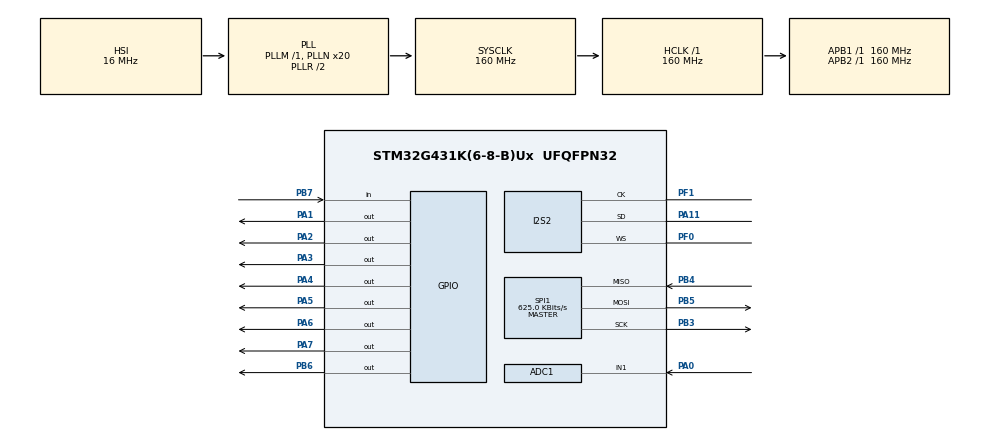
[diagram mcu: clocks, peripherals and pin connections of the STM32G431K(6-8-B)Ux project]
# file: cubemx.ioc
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ADC1.Channel-2\#ChannelRegularConversion=ADC_CHANNEL_1
ADC1.NbrOfConversionFlag=1
ADC1.OffsetNumber-2\#ChannelRegularConversion=ADC_OFFSET_NONE
ADC1.Rank-2\#ChannelRegularConversion=1
ADC1.SamplingTime-2\#ChannelRegularConversion=ADC_SAMPLETIME_2CYCLES_5
ADC1.master=1
Dma.Request0=SPI2_RX
Dma.SPI2_RX.0.Direction=DMA_PERIPH_TO_MEMORY
Dma.SPI2_RX.0.EventEnable=DISABLE
Dma.SPI2_RX.0.Instance=DMA1_Channel1
Dma.SPI2_RX.0.MemDataAlignment=DMA_MDATAALIGN_HALFWORD
Dma.SPI2_RX.0.MemInc=DMA_MINC_ENABLE
Dma.SPI2_RX.0.Mode=DMA_CIRCULAR
Dma.SPI2_RX.0.PeriphDataAlignment=DMA_PDATAALIGN_HALFWORD
Dma.SPI2_RX.0.PeriphInc=DMA_PINC_DISABLE
Dma.SPI2_RX.0.Polarity=HAL_DMAMUX_REQ_GEN_RISING
Dma.SPI2_RX.0.Priority=DMA_PRIORITY_VERY_HIGH
Dma.SPI2_RX.0.RequestNumber=1
Dma.SPI2_RX.0.SignalID=NONE
Dma.SPI2_RX.0.SyncEnable=DISABLE
Dma.SPI2_RX.0.SyncPolarity=HAL_DMAMUX_SYNC_NO_EVENT
Dma.SPI2_RX.0.SyncRequestNumber=1
Dma.SPI2_RX.0.SyncSignalID=NONE
I2S2.AudioFreq=I2S_AUDIOFREQ_48K
I2S2.DataFormat=I2S_DATAFORMAT_24B
I2S2.ErrorAudioFreq=0.15 %
I2S2.FullDuplexMode=I2S_FULLDUPLEXMODE_DISABLE
I2S2.Instance=SPI$Index
I2S2.Mode=I2S_MODE_MASTER_RX
I2S2.RealAudioFreq=48.076 KHz
I2S2.VirtualMode=I2S_MODE_MASTER
Mcu.Family=STM32G4
Mcu.Name=STM32G431K(6-8-B)Ux
Mcu.Package=UFQFPN32
NVIC.DMA1_Channel1_IRQn=true\:0\:0\:false\:false\:true\:false\:true\:true
NVIC.PriorityGroup=NVIC_PRIORITYGROUP_4
PA0.Mode=IN1-Single-Ended
PA0.Signal=ADC1_IN1
PA1.Signal=GPIO_Output
PA11.Mode=Half_Duplex_Master
PA11.Signal=I2S2_SD
PA13.Mode=Serial_Wire
PA13.Signal=SYS_JTMS-SWDIO
PA14.Mode=Serial_Wire
PA14.Signal=SYS_JTCK-SWCLK
PA2.Signal=GPIO_Output
PA3.Signal=GPIO_Output
PA4.Signal=GPIO_Output
PA5.Signal=GPIO_Output
PA6.PinState=GPIO_PIN_RESET
PA6.Signal=GPIO_Output
PA7.Signal=GPIO_Output
PB3.Mode=Full_Duplex_Master
PB3.Signal=SPI1_SCK
PB4.Mode=Full_Duplex_Master
PB4.Signal=SPI1_MISO
PB5.Mode=Full_Duplex_Master
PB5.Signal=SPI1_MOSI
PB6.PinState=GPIO_PIN_SET
PB6.Signal=GPIO_Output
PB7.Signal=GPIO_Input
PF0-OSC_IN.Mode=Half_Duplex_Master
PF0-OSC_IN.Signal=I2S2_WS
PF1-OSC_OUT.Mode=Half_Duplex_Master
PF1-OSC_OUT.Signal=I2S2_CK
ProjectManager.HeapSize=0x200
ProjectManager.StackSize=0x400
ProjectManager.TargetToolchain=STM32CubeIDE
RCC.ADC12Freq_Value=160000000
RCC.AHBFreq_Value=160000000
RCC.APB1Freq_Value=160000000
RCC.APB1TimFreq_Value=160000000
RCC.APB2Freq_Value=160000000
RCC.APB2TimFreq_Value=160000000
RCC.CortexFreq_Value=160000000
RCC.EXTERNAL_CLOCK_VALUE=12288000
RCC.HCLKFreq_Value=160000000
RCC.HSE_VALUE=8000000
RCC.HSI48_VALUE=48000000
RCC.HSI_VALUE=16000000
RCC.LSE_VALUE=32768
RCC.PLLN=20
RCC.SYSCLKFreq_VALUE=160000000
RCC.SYSCLKSource=RCC_SYSCLKSOURCE_PLLCLK
RCC.USBFreq_Value=160000000
RCC.VCOOutputFreq_Value=320000000
SPI1.BaudRatePrescaler=SPI_BAUDRATEPRESCALER_256
SPI1.CalculateBaudRate=625.0 KBits/s
SPI1.DataSize=SPI_DATASIZE_8BIT
SPI1.Direction=SPI_DIRECTION_2LINES
SPI1.Mode=SPI_MODE_MASTER
SPI1.VirtualType=VM_MASTER
VP_FATFS_VS_Generic.Mode=User_defined
VP_SYS_VS_DBSignals.Mode=DisableDeadBatterySignals
board=custom

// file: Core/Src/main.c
/* USER CODE BEGIN Header */
/**
  ******************************************************************************
  * @file           : main.c
  * @brief          : Main program body
  ******************************************************************************
  * @attention
  *
  * Copyright (c) 2026 STMicroelectronics.
  * All rights reserved.
  *
  * This software is licensed under terms that can be found in the LICENSE file
  * in the root directory of this software component.
  * If no LICENSE file comes with this software, it is provided AS-IS.
  *
  ******************************************************************************
  */
/* USER CODE END Header */
#include "main.h"
#include "app_fatfs.h"

/* USER CODE BEGIN Includes */
#include <stdio.h>
#include <string.h>
/* USER CODE END Includes */

/* USER CODE BEGIN PD */

/* DMA: 1000 stereo frames, each frame = 2 ch * 2 words/ch = 4 uint16_t */
#define NUM_STEREO_FRAMES 1000

/* Total samples per DMA transfer (interleaved L/R) */
#define NUM_SAMPLES (NUM_STEREO_FRAMES * 2)

/* Recording: 240 loops * 1000 frames = 48000 stereo frames = 1 sec at 48kHz */
#define MAX_RECORD_LOOPS 240

/* 24-bit output: 3 bytes per sample */
#define BYTES_PER_SAMPLE 3

/* Ping-pong buffers for audio data (half = 500 frames) */
#define HALF_FRAMES (NUM_STEREO_FRAMES / 2)
#define HALF_SAMPLES (HALF_FRAMES * 2)
#define HALF_AUDIO_SIZE (HALF_SAMPLES * BYTES_PER_SAMPLE)

/* DMA RX buffer: 24-bit I2S -> 2x16-bit words per sample, interleaved L/R */
uint16_t mic_rx_buffer[NUM_STEREO_FRAMES * 4];

/* Audio processing buffers */
int32_t stereo_audio[NUM_SAMPLES];

/* Ping-pong 24-bit buffers for non-blocking SD writes */
uint8_t audio_buf[2][HALF_AUDIO_SIZE];

/* Flags */
volatile uint8_t half_transfer = 0;
volatile uint8_t data_ready_flag = 0;
volatile uint8_t recording_started = 0;
volatile uint8_t recording_finished = 0;
volatile uint8_t sd_write_busy = 0;
volatile uint8_t sd_write_done = 0;
volatile uint8_t i2s_overrun = 0;

/* File info */
FATFS fs;
FIL fil;
UINT bw;
uint32_t total_data_bytes = 0;
uint32_t record_counter = 0;

/* WAV header: 48kHz, Stereo, 24-bit PCM */
uint8_t wav_header[44] = {
    'R', 'I', 'F', 'F',
    0, 0, 0, 0,             // [4-7] Total File Size (filled in later)
    'W', 'A', 'V', 'E',
    'f', 'm', 't', ' ',
    16, 0, 0, 0,            // Subchunk1Size (16 for PCM)
    1, 0,                   // AudioFormat (1 = PCM)
    2, 0,                   // NumChannels (2 = Stereo)
    0x80, 0xBB, 0x00, 0x00, // SampleRate (48000 Hz)
    0x00, 0x70, 0x03, 0x00, // ByteRate (48000 * 2 * 3 = 288000)
    6, 0,                   // BlockAlign (2 * 3 = 6)
    24, 0,                  // BitsPerSample (24 bits)
    'd', 'a', 't', 'a',
    0, 0, 0, 0              // [40-43] Data Size (filled in later)
};

/* Timestamp-based filename */
char filename[16];  // "YYMMDD_HHMMSS.WAV"

/* Recording state machine */
typedef enum {
    STATE_IDLE,
    STATE_MOUNTING,
    STATE_OPENING,
    STATE_WRITING_HEADER,
    STATE_RECORDING,
    STATE_FINALIZING,
    STATE_CLOSING,
    STATE_DONE
} recording_state_t;
static recording_state_t rec_state = STATE_IDLE;
static uint8_t button_pressed = 0;
static uint8_t button_debounced = 0;

/* Buffer swap tracking */
static volatile uint8_t half_buf_idx = 0;  // which buf half we're filling
/* USER CODE END PD */

ADC_HandleTypeDef hadc1;

I2S_HandleTypeDef hi2s2;
DMA_HandleTypeDef hdma_spi2_rx;

SPI_HandleTypeDef hspi1;

void SystemClock_Config(void);
static void MX_GPIO_Init(void);
static void MX_DMA_Init(void);
static void MX_ADC1_Init(void);
static void MX_I2S2_Init(void);
static void MX_SPI1_Init(void);

/* USER CODE BEGIN 0 */

/* Generate timestamp filename: YYMMDD_HHMMSS.WAV */
static void generate_filename(void)
{
    /* Use HAL_GetTick() as a simple counter since we don't have RTC */
    uint32_t tick = HAL_GetTick();
    uint32_t fake_time = (tick / 1000) % 86400;
    uint32_t fake_date = (tick / 86400000) % 1000000;

    uint8_t hh = (fake_time / 3600) % 24;
    uint8_t mm = (fake_time / 60) % 60;
    uint8_t ss = fake_time % 60;
    uint16_t yy = (fake_date / 10000) % 100;
    uint8_t month = (fake_date / 100) % 100;
    uint8_t dd = fake_date % 100;

    sprintf(filename, "%02d%02d%02d_%02d%02d%02d.WAV",
            yy, month, dd, hh, mm, ss);
}

/* Check if button (PB7) is pressed (active low with pull-up assumed) */
static uint8_t is_button_pressed(void)
{
    return (HAL_GPIO_ReadPin(GPIOB, GPIO_PIN_7) == GPIO_PIN_RESET);
}

/* Extract 24-bit sample from HAL I2S 24-bit + HALFWORD DMA format.
 * DMA delivers each 24-bit sample as two 16-bit words:
 *   buffer[0] = low 16 bits
 *   buffer[1] = high 8 bits (in low byte of 2nd word, sign-extended)
 * This function extracts a sample at sample_idx from the DMA buffer.
 */
static int32_t extract_24bit_sample(const uint16_t *dma_buf, uint32_t sample_idx)
{
    uint32_t buf_idx = sample_idx * 2;
    /* Low 16 bits */
    uint16_t low = dma_buf[buf_idx];
    /* High byte: sign-extended by HAL in HALFWORD mode */
    int8_t high = (int8_t)(dma_buf[buf_idx + 1] >> 8);
    return ((int32_t)high << 16) | low;
}

/* Convert DMA buffer to 24-bit ping-pong buffer.
 * buf_idx: 0 = first half, 1 = second half
 * start_sample: first sample index for this half
 */
static void process_to_24bit(uint8_t buf_idx, uint32_t start_sample)
{
    uint8_t *dst = audio_buf[buf_idx];
    const uint16_t *src = mic_rx_buffer;
    uint32_t half_samples = HALF_SAMPLES;

    for (uint32_t i = 0; i < half_samples; i++) {
        int32_t sample = extract_24bit_sample(src, start_sample + i);
        uint32_t dst_idx = i * 3;
        /* Write 24-bit little-endian */
        dst[dst_idx]     = (uint8_t)(sample & 0xFF);
        dst[dst_idx + 1] = (uint8_t)((sample >> 8) & 0xFF);
        dst[dst_idx + 2] = (uint8_t)((sample >> 16) & 0xFF);
    }
}

/* Non-blocking SD write function */
static FRESULT sd_write_audio(const uint8_t *data, uint32_t size)
{
    FRESULT res = f_write(&fil, data, size, &bw);
    if (res == FR_OK) {
        total_data_bytes += bw;
        record_counter++;
    }
    return res;
}

/* Finalize WAV file header */
static void finalize_wav_file(void)
{
    uint32_t file_size = total_data_bytes + 36;

    f_lseek(&fil, 4);
    f_write(&fil, &file_size, 4, &bw);

    f_lseek(&fil, 40);
    f_write(&fil, &total_data_bytes, 4, &bw);

    f_sync(&fil);
}

/* USER CODE END 0 */

int main(void)
{

  /* MCU Configuration--------------------------------------------------------*/

  /* Reset of all peripherals, Initializes the Flash interface and the Systick. */
  HAL_Init();

  /* Configure the system clock */
  SystemClock_Config();

  /* Initialize all configured peripherals */
  MX_GPIO_Init();
  MX_DMA_Init();
  MX_ADC1_Init();
  MX_I2S2_Init();
  MX_SPI1_Init();
  if (MX_FATFS_Init() != APP_OK) {
    Error_Handler();
  }
  /* USER CODE BEGIN 2 */

    /* Initialize mic select pins */
    HAL_GPIO_WritePin(GPIOA, GPIO_PIN_1, GPIO_PIN_SET);   // PA1 = Right Mic
    HAL_GPIO_WritePin(GPIOA, GPIO_PIN_2, GPIO_PIN_RESET); // PA2 = Left Mic

    /* Generate initial filename */
    generate_filename();

    /* LED off initially */
    HAL_GPIO_WritePin(GPIOA, GPIO_PIN_7, GPIO_PIN_RESET);

  /* USER CODE END 2 */

  /* Infinite loop */
  /* USER CODE BEGIN WHILE */
  while (1)
  {
    /* Button state machine: detect rising edge on PB7 to start/stop recording */
    if (is_button_pressed() && !button_debounced) {
        button_pressed = 1;
    }
    if (!is_button_pressed() && button_pressed) {
        button_pressed = 0;
        button_debounced = 1;
    }
    if (!is_button_pressed() && !button_pressed) {
        button_debounced = 0;
    }

    /* Start recording on button press */
    if (button_debounced && rec_state == STATE_IDLE && !recording_started) {
        button_debounced = 0;
        generate_filename();
        rec_state = STATE_MOUNTING;
    }

    /* State machine for recording */
    switch (rec_state) {

    case STATE_MOUNTING:
        if (f_mount(&fs, "", 1) == FR_OK) {
            rec_state = STATE_OPENING;
        } else {
            Error_Handler();  // SD mount failed
        }
        break;

    case STATE_OPENING:
        if (f_open(&fil, filename, FA_CREATE_ALWAYS | FA_WRITE) == FR_OK) {
            rec_state = STATE_WRITING_HEADER;
        } else {
            Error_Handler();  // File open failed
        }
        break;

    case STATE_WRITING_HEADER:
        if (f_write(&fil, wav_header, 44, &bw) == FR_OK) {
            /* Turn on LED to indicate recording has started */
            HAL_GPIO_WritePin(GPIOA, GPIO_PIN_7, GPIO_PIN_SET);
            /* Start DMA capture with ping-pong half-buffer callbacks */
            HAL_I2S_Receive_DMA(&hi2s2, (uint32_t *)mic_rx_buffer,
                                NUM_STEREO_FRAMES * 4);
            recording_started = 1;
            rec_state = STATE_RECORDING;
        } else {
            Error_Handler();  // Header write failed
        }
        break;

    case STATE_RECORDING:
        /* Handle button press to stop recording */
        if (button_debounced) {
            button_debounced = 0;
            if (record_counter > 0) {
                rec_state = STATE_FINALIZING;
            } else {
                /* Too short, abort */
                HAL_I2S_DMAStop(&hi2s2);
                f_close(&fil);
                f_mount(NULL, "", 1);
                HAL_GPIO_WritePin(GPIOA, GPIO_PIN_7, GPIO_PIN_RESET);
                rec_state = STATE_IDLE;
                recording_started = 0;
                total_data_bytes = 0;
                record_counter = 0;
            }
        }

        /* Check for I2S overrun */
        if (i2s_overrun) {
            i2s_overrun = 0;
            /* Overrun detected - could blink LED to indicate */
        }

        /* Handle half-transfer callback: process first half of DMA buffer */
        if (half_transfer) {
            half_transfer = 0;
            /* Process first half (samples 0..HALF_SAMPLES-1) into buf[0] */
            process_to_24bit(0, 0);
            /* Start DMA again with offset address for second half transfer */
            /* We use DMA half-transfer to signal first half is ready */
        }

        /* Handle transfer-complete callback: process second half */
        if (data_ready_flag) {
            data_ready_flag = 0;
            /* Process second half (samples HALF_SAMPLES..NUM_SAMPLES-1) into buf[1] */
            process_to_24bit(1, HALF_SAMPLES);

            /* Now write buf[0] to SD (it was processed on half-transfer) */
            if (sd_write_audio(audio_buf[0], HALF_AUDIO_SIZE) != FR_OK) {
                Error_Handler();  // SD write failed
            }

            /* Check if recording is complete */
            if (record_counter >= MAX_RECORD_LOOPS) {
                rec_state = STATE_FINALIZING;
                break;
            }

            /* Restart DMA for next transfer */
            HAL_I2S_Receive_DMA(&hi2s2, (uint32_t *)mic_rx_buffer,
                                NUM_STEREO_FRAMES * 4);
        }
        break;

    case STATE_FINALIZING:
        /* Stop DMA and I2S */
        HAL_I2S_DMAStop(&hi2s2);
        /* Wait for any pending DMA to complete */
        finalize_wav_file();
        rec_state = STATE_CLOSING;
        break;

    case STATE_CLOSING:
        if (f_close(&fil) == FR_OK) {
            f_mount(NULL, "", 1);
            /* Turn OFF LED to show recording is complete */
            HAL_GPIO_WritePin(GPIOA, GPIO_PIN_7, GPIO_PIN_RESET);
            rec_state = STATE_DONE;
        } else {
            Error_Handler();  // Close failed
        }
        break;

    case STATE_DONE:
        /* Recording complete - wait for button press to start again */
        if (!button_debounced && !is_button_pressed()) {
            /* Reset for next recording */
            recording_started = 0;
            recording_finished = 1;
            total_data_bytes = 0;
            record_counter = 0;
            rec_state = STATE_IDLE;
        }
        break;

    default:
        rec_state = STATE_IDLE;
        break;
    }

    /* USER CODE END WHILE */

  }
}

void SystemClock_Config(void)
{
  RCC_OscInitTypeDef RCC_OscInitStruct = {0};
  RCC_ClkInitTypeDef RCC_ClkInitStruct = {0};

  /** Configure the main internal regulator output voltage
  */
  HAL_PWREx_ControlVoltageScaling(PWR_REGULATOR_VOLTAGE_SCALE1_BOOST);

  /** Initializes the RCC Oscillators according to the specified parameters
  * in the RCC_OscInitTypeDef structure.
  */
  RCC_OscInitStruct.OscillatorType = RCC_OSCILLATORTYPE_HSI;
  RCC_OscInitStruct.HSIState = RCC_HSI_ON;
  RCC_OscInitStruct.HSICalibrationValue = RCC_HSICALIBRATION_DEFAULT;
  RCC_OscInitStruct.PLL.PLLState = RCC_PLL_ON;
  RCC_OscInitStruct.PLL.PLLSource = RCC_PLLSOURCE_HSI;
  RCC_OscInitStruct.PLL.PLLM = RCC_PLLM_DIV1;
  RCC_OscInitStruct.PLL.PLLN = 20;
  RCC_OscInitStruct.PLL.PLLP = RCC_PLLP_DIV2;
  RCC_OscInitStruct.PLL.PLLQ = RCC_PLLQ_DIV2;
  RCC_OscInitStruct.PLL.PLLR = RCC_PLLR_DIV2;
  if (HAL_RCC_OscConfig(&RCC_OscInitStruct) != HAL_OK)
  {
    Error_Handler();
  }

  /** Initializes the CPU, AHB and APB buses clocks
  */
  RCC_ClkInitStruct.ClockType = RCC_CLOCKTYPE_HCLK|RCC_CLOCKTYPE_SYSCLK
                              |RCC_CLOCKTYPE_PCLK1|RCC_CLOCKTYPE_PCLK2;
  RCC_ClkInitStruct.SYSCLKSource = RCC_SYSCLKSOURCE_PLLCLK;
  RCC_ClkInitStruct.AHBCLKDivider = RCC_SYSCLK_DIV1;
  RCC_ClkInitStruct.APB1CLKDivider = RCC_HCLK_DIV1;
  RCC_ClkInitStruct.APB2CLKDivider = RCC_HCLK_DIV1;

  if (HAL_RCC_ClockConfig(&RCC_ClkInitStruct, FLASH_LATENCY_4) != HAL_OK)
  {
    Error_Handler();
  }
}

static void MX_ADC1_Init(void)
{

  ADC_MultiModeTypeDef multimode = {0};
  ADC_ChannelConfTypeDef sConfig = {0};

  /** Common config
  */
  hadc1.Instance = ADC1;
  hadc1.Init.ClockPrescaler = ADC_CLOCK_SYNC_PCLK_DIV4;
  hadc1.Init.Resolution = ADC_RESOLUTION_12B;
  hadc1.Init.DataAlign = ADC_DATAALIGN_RIGHT;
  hadc1.Init.GainCompensation = 0;
  hadc1.Init.ScanConvMode = ADC_SCAN_DISABLE;
  hadc1.Init.EOCSelection = ADC_EOC_SINGLE_CONV;
  hadc1.Init.LowPowerAutoWait = DISABLE;
  hadc1.Init.ContinuousConvMode = DISABLE;
  hadc1.Init.NbrOfConversion = 1;
  hadc1.Init.DiscontinuousConvMode = DISABLE;
  hadc1.Init.ExternalTrigConv = ADC_SOFTWARE_START;
  hadc1.Init.ExternalTrigConvEdge = ADC_EXTERNALTRIGCONVEDGE_NONE;
  hadc1.Init.DMAContinuousRequests = DISABLE;
  hadc1.Init.Overrun = ADC_OVR_DATA_PRESERVED;
  hadc1.Init.OversamplingMode = DISABLE;
  if (HAL_ADC_Init(&hadc1) != HAL_OK)
  {
    Error_Handler();
  }

  /** Configure the ADC multi-mode
  */
  multimode.Mode = ADC_MODE_INDEPENDENT;
  if (HAL_ADCEx_MultiModeConfigChannel(&hadc1, &multimode) != HAL_OK)
  {
    Error_Handler();
  }

  /** Configure Regular Channel
  */
  sConfig.Channel = ADC_CHANNEL_1;
  sConfig.Rank = ADC_REGULAR_RANK_1;
  sConfig.SamplingTime = ADC_SAMPLETIME_2CYCLES_5;
  sConfig.SingleDiff = ADC_SINGLE_ENDED;
  sConfig.OffsetNumber = ADC_OFFSET_NONE;
  sConfig.Offset = 0;
  if (HAL_ADC_ConfigChannel(&hadc1, &sConfig) != HAL_OK)
  {
    Error_Handler();
  }

}

static void MX_I2S2_Init(void)
{

  hi2s2.Instance = SPI2;
  hi2s2.Init.Mode = I2S_MODE_MASTER_RX;
  hi2s2.Init.Standard = I2S_STANDARD_PHILIPS;
  hi2s2.Init.DataFormat = I2S_DATAFORMAT_24B;
  hi2s2.Init.MCLKOutput = I2S_MCLKOUTPUT_DISABLE;
  hi2s2.Init.AudioFreq = I2S_AUDIOFREQ_48K;
  hi2s2.Init.CPOL = I2S_CPOL_LOW;
  if (HAL_I2S_Init(&hi2s2) != HAL_OK)
  {
    Error_Handler();
  }

}

static void MX_SPI1_Init(void)
{

  /* SPI1 parameter configuration*/
  hspi1.Instance = SPI1;
  hspi1.Init.Mode = SPI_MODE_MASTER;
  hspi1.Init.Direction = SPI_DIRECTION_2LINES;
  hspi1.Init.DataSize = SPI_DATASIZE_8BIT;
  hspi1.Init.CLKPolarity = SPI_POLARITY_LOW;
  hspi1.Init.CLKPhase = SPI_PHASE_1EDGE;
  hspi1.Init.NSS = SPI_NSS_SOFT;
  hspi1.Init.BaudRatePrescaler = SPI_BAUDRATEPRESCALER_256;
  hspi1.Init.FirstBit = SPI_FIRSTBIT_MSB;
  hspi1.Init.TIMode = SPI_TIMODE_DISABLE;
  hspi1.Init.CRCCalculation = SPI_CRCCALCULATION_DISABLE;
  hspi1.Init.CRCPolynomial = 7;
  hspi1.Init.CRCLength = SPI_CRC_LENGTH_DATASIZE;
  hspi1.Init.NSSPMode = SPI_NSS_PULSE_ENABLE;
  if (HAL_SPI_Init(&hspi1) != HAL_OK)
  {
    Error_Handler();
  }

}

static void MX_DMA_Init(void)
{

  /* DMA controller clock enable */
  __HAL_RCC_DMAMUX1_CLK_ENABLE();
  __HAL_RCC_DMA1_CLK_ENABLE();

  /* DMA interrupt init */
  /* DMA1_Channel1_IRQn interrupt configuration */
  HAL_NVIC_SetPriority(DMA1_Channel1_IRQn, 0, 0);
  HAL_NVIC_EnableIRQ(DMA1_Channel1_IRQn);

}

static void MX_GPIO_Init(void)
{
  GPIO_InitTypeDef GPIO_InitStruct = {0};

  /* GPIO Ports Clock Enable */
  __HAL_RCC_GPIOF_CLK_ENABLE();
  __HAL_RCC_GPIOA_CLK_ENABLE();
  __HAL_RCC_GPIOB_CLK_ENABLE();

  /*Configure GPIO pin Output Level */
  HAL_GPIO_WritePin(GPIOA, GPIO_PIN_1|GPIO_PIN_2|GPIO_PIN_3|GPIO_PIN_4
                          |GPIO_PIN_5|GPIO_PIN_6|GPIO_PIN_7, GPIO_PIN_RESET);

  /*Configure GPIO pin Output Level */
  HAL_GPIO_WritePin(GPIOB, GPIO_PIN_6, GPIO_PIN_SET);

  /*Configure GPIO pins : PA1 PA2 PA3 PA4
                           PA5 PA6 PA7 */
  GPIO_InitStruct.Pin = GPIO_PIN_1|GPIO_PIN_2|GPIO_PIN_3|GPIO_PIN_4
                          |GPIO_PIN_5|GPIO_PIN_6|GPIO_PIN_7;
  GPIO_InitStruct.Mode = GPIO_MODE_OUTPUT_PP;
  GPIO_InitStruct.Pull = GPIO_NOPULL;
  GPIO_InitStruct.Speed = GPIO_SPEED_FREQ_LOW;
  HAL_GPIO_Init(GPIOA, &GPIO_InitStruct);

  /*Configure GPIO pin : PB6 */
  GPIO_InitStruct.Pin = GPIO_PIN_6;
  GPIO_InitStruct.Mode = GPIO_MODE_OUTPUT_PP;
  GPIO_InitStruct.Pull = GPIO_NOPULL;
  GPIO_InitStruct.Speed = GPIO_SPEED_FREQ_LOW;
  HAL_GPIO_Init(GPIOB, &GPIO_InitStruct);

  /*Configure GPIO pin : PB7 */
  GPIO_InitStruct.Pin = GPIO_PIN_7;
  GPIO_InitStruct.Mode = GPIO_MODE_INPUT;
  GPIO_InitStruct.Pull = GPIO_NOPULL;
  HAL_GPIO_Init(GPIOB, &GPIO_InitStruct);

}

/* USER CODE BEGIN 4 */
// Ping-pong DMA callbacks for non-blocking audio processing + SD writes

// Called when half of the DMA buffer is full (half-transfer complete)
void HAL_I2S_RxHalfCpltCallback(I2S_HandleTypeDef *hi2s)
{
    if (hi2s->Instance == SPI2)
    {
        half_transfer = 1;
    }
}

// Called when the full DMA buffer is transferred (transfer complete)
void HAL_I2S_RxCpltCallback(I2S_HandleTypeDef *hi2s)
{
    if (hi2s->Instance == SPI2)
    {
        data_ready_flag = 1;
    }
}

// Called when DMA transfer is interrupted (error or abort)
void HAL_I2S_ErrorCallback(I2S_HandleTypeDef *hi2s)
{
    if (hi2s->Instance == SPI2)
    {
        // Check for overrun/underrun
        uint32_t isr = hi2s->Instance->ISR;
        if (isr & SPI_ISR_OVR) {
            i2s_overrun = 1;
            // Clear OVR flag
            __HAL_I2S_GET_FLAG(hi2s, SPI_FLAG_OVR);
            (void)hi2s->Instance->DR;
        }
    }
}
/* USER CODE END 4 */

void Error_Handler(void)
{
  /* USER CODE BEGIN Error_Handler_Debug */
  /* User can add his own implementation to report the HAL error return state */
  __disable_irq();
  while (1)
  {
    // Blink LED rapidly to indicate error
    HAL_GPIO_TogglePin(GPIOA, GPIO_PIN_7);
    for (volatile uint32_t i = 0; i < 100000; i++);
  }
  /* USER CODE END Error_Handler_Debug */
}
